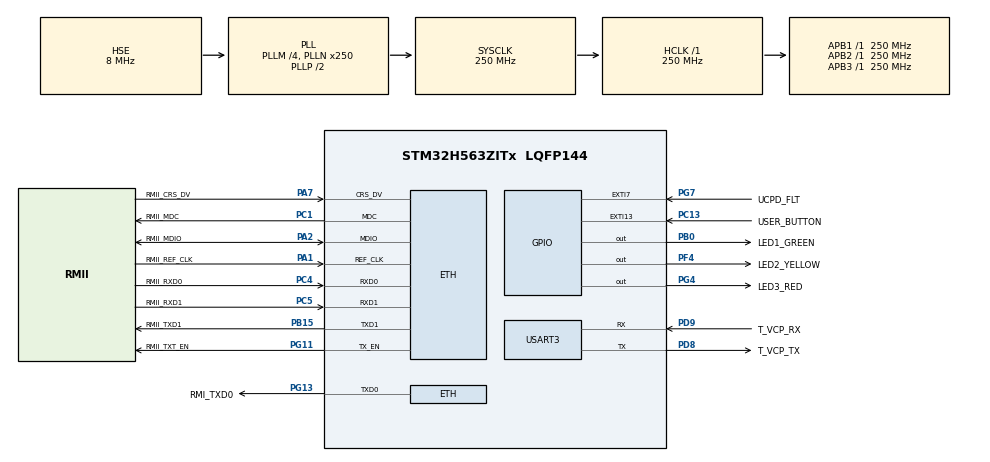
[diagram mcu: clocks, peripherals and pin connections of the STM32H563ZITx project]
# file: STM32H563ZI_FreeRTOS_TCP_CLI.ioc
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CORTEX_M33_NS.userName=CORTEX_M33
ETH.MediaInterface=HAL_ETH_RMII_MODE
Mcu.Family=STM32H5
Mcu.Name=STM32H563ZITx
Mcu.Package=LQFP144
NVIC.ETH_IRQn=true\:0\:0\:false\:false\:false\:true\:true\:true
NVIC.PriorityGroup=NVIC_PRIORITYGROUP_4
NVIC.TIM5_IRQn=true\:15\:0\:false\:false\:true\:false\:true\:true
NVIC.TimeBase=TIM5_IRQn
NVIC.TimeBaseIP=TIM5
PA1.GPIO_Label=RMII_REF_CLK
PA1.GPIO_Mode=GPIO_MODE_AF_PP
PA1.GPIO_PuPd=GPIO_NOPULL
PA1.GPIO_Speed=GPIO_SPEED_FREQ_LOW
PA1.Mode=RMII
PA1.Signal=ETH_REF_CLK
PA11.GPIO_Label=USB_FS_N
PA11.Signal=USB_DM
PA12.GPIO_Label=USB_FS_P
PA12.Signal=USB_DP
PA13(JTMS/SWDIO).GPIO_Label=SWDIO
PA13(JTMS/SWDIO).Signal=DEBUG_JTMS-SWDIO
PA14(JTCK/SWCLK).GPIO_Label=SWCLK
PA14(JTCK/SWCLK).Signal=DEBUG_JTCK-SWCLK
PA15(JTDI).GPIO_Label=T_JTDI
PA15(JTDI).Signal=DEBUG_JTDI
PA2.GPIO_Label=RMII_MDIO
PA2.GPIO_Mode=GPIO_MODE_AF_PP
PA2.GPIO_PuPd=GPIO_NOPULL
PA2.GPIO_Speed=GPIO_SPEED_FREQ_LOW
PA2.Mode=RMII
PA2.Signal=ETH_MDIO
PA4.GPIO_Label=VBUS_SENSE
PA4.Signal=ADCx_INP18
PA7.GPIO_Label=RMII_CRS_DV
PA7.GPIO_Mode=GPIO_MODE_AF_PP
PA7.GPIO_PuPd=GPIO_NOPULL
PA7.GPIO_Speed=GPIO_SPEED_FREQ_LOW
PA7.Mode=RMII
PA7.Signal=ETH_CRS_DV
PA9.GPIO_Label=UCDP_DBn
PA9.Signal=UCPD1_DB1
PB0.GPIO_Label=LED1_GREEN
PB0.Signal=GPIO_Output
PB13.GPIO_Label=UCPD_CC1
PB13.Signal=UCPD1_CC1
PB14.GPIO_Label=UCPD_CC2
PB14.Signal=UCPD1_CC2
PB15.GPIO_Label=RMII_TXD1
PB15.GPIO_Mode=GPIO_MODE_AF_PP
PB15.GPIO_PuPd=GPIO_NOPULL
PB15.GPIO_Speed=GPIO_SPEED_FREQ_LOW
PB15.Mode=RMII
PB15.Signal=ETH_TXD1
PB3(JTDO/TRACESWO).GPIO_Label=SWO
PB3(JTDO/TRACESWO).Signal=DEBUG_JTDO-SWO
PB6.GPIO_Label=ARD_D1_TX
PB6.Signal=LPUART1_TX
PB7.GPIO_Label=ARD_D0_RX
PB7.Signal=LPUART1_RX
PC1.GPIO_Label=RMII_MDC
PC1.GPIO_Mode=GPIO_MODE_AF_PP
PC1.GPIO_PuPd=GPIO_NOPULL
PC1.GPIO_Speed=GPIO_SPEED_FREQ_LOW
PC1.Mode=RMII
PC1.Signal=ETH_MDC
PC13.GPIO_Label=USER_BUTTON
PC13.Signal=GPXTI13
PC14-OSC32_IN(OSC32_IN).Mode=LSE-External-Oscillator
PC14-OSC32_IN(OSC32_IN).Signal=RCC_OSC32_IN
PC15-OSC32_OUT(OSC32_OUT).Mode=LSE-External-Oscillator
PC15-OSC32_OUT(OSC32_OUT).Signal=RCC_OSC32_OUT
PC4.GPIO_Label=RMII_RXD0
PC4.GPIO_Mode=GPIO_MODE_AF_PP
PC4.GPIO_PuPd=GPIO_NOPULL
PC4.GPIO_Speed=GPIO_SPEED_FREQ_LOW
PC4.Mode=RMII
PC4.Signal=ETH_RXD0
PC5.GPIO_Label=RMII_RXD1
PC5.GPIO_Mode=GPIO_MODE_AF_PP
PC5.GPIO_PuPd=GPIO_NOPULL
PC5.GPIO_Speed=GPIO_SPEED_FREQ_LOW
PC5.Mode=RMII
PC5.Signal=ETH_RXD1
PD8.GPIO_Label=T_VCP_TX
PD8.Mode=Asynchronous
PD8.Signal=USART3_TX
PD9.GPIO_Label=T_VCP_RX
PD9.Mode=Asynchronous
PD9.Signal=USART3_RX
PE2.GPIO_Label=TRACE_CK
PE2.Signal=DEBUG_TRACECLK
PE3.GPIO_Label=TRACE_D0
PE3.Signal=DEBUG_TRACED0
PE4.GPIO_Label=TRACE_D1
PE4.Signal=DEBUG_TRACED1
PE5.GPIO_Label=TRACE_D2
PE5.Signal=DEBUG_TRACED2
PE6.GPIO_Label=TRACE_D3
PE6.Signal=DEBUG_TRACED3
PF4.GPIO_Label=LED2_YELLOW
PF4.Signal=GPIO_Output
PG11.GPIO_Label=RMII_TXT_EN
PG11.GPIO_Mode=GPIO_MODE_AF_PP
PG11.GPIO_PuPd=GPIO_NOPULL
PG11.GPIO_Speed=GPIO_SPEED_FREQ_LOW
PG11.Mode=RMII
PG11.Signal=ETH_TX_EN
PG13.GPIO_Label=RMI_TXD0
PG13.GPIO_Mode=GPIO_MODE_AF_PP
PG13.GPIO_PuPd=GPIO_NOPULL
PG13.GPIO_Speed=GPIO_SPEED_FREQ_LOW
PG13.Mode=RMII
PG13.Signal=ETH_TXD0
PG4.GPIO_Label=LED3_RED
PG4.Signal=GPIO_Output
PG7.GPIO_Label=UCPD_FLT
PG7.Signal=GPXTI7
PH0-OSC_IN(PH0).GPIO_Label=STLK_MCO
PH0-OSC_IN(PH0).Mode=HSE-DIG-External-Clock-Source
PH0-OSC_IN(PH0).Signal=RCC_OSC_IN
ProjectManager.HeapSize=0x200
ProjectManager.StackSize=0x400
ProjectManager.TargetToolchain=STM32CubeIDE
RCC.ADCFreq_Value=250000000
RCC.AHBFreq_Value=250000000
RCC.APB1Freq_Value=250000000
RCC.APB1TimFreq_Value=250000000
RCC.APB2Freq_Value=250000000
RCC.APB2TimFreq_Value=250000000
RCC.APB3Freq_Value=250000000
RCC.CSI_VALUE=4000000
RCC.CortexFreq_Value=250000000
RCC.EPOD_VALUE=8000000
RCC.HCLKFreq_Value=250000000
RCC.HSE_VALUE=8000000
RCC.HSI48_VALUE=48000000
RCC.HSIDiv=RCC_HSI_DIV1
RCC.HSI_VALUE=64000000
RCC.LSIRC_VALUE=32000
RCC.PLLM=4
RCC.PLLN=250
RCC.PLLSourceVirtual=RCC_PLL1_SOURCE_HSE
RCC.SYSCLKFreq_VALUE=250000000
RCC.SYSCLKSource=RCC_SYSCLKSOURCE_PLLCLK
RCC.USBFreq_Value=48000000
RCC.VCOOutputFreq_Value=500000000
SH.ADCx_INP18.0=ADC1_INP18
USART3.VirtualMode=VM_ASYNC
VP_BOOTPATH_VS_BOOTPATH.Mode=BP_Activate
VP_ICACHE_VS_ICACHE.Mode=DefaultMode
VP_MEMORYMAP_VS_MEMORYMAP.Mode=CurAppReg
VP_PWR_VS_DBSignals.Mode=DisableDeadBatterySignals
VP_PWR_VS_LPOM.Mode=PowerOptimisation
VP_PWR_VS_SECSignals.Mode=Security/Privilege
VP_RNG_VS_RNG.Mode=RNG_Activate
VP_SYS_VS_tim5.Mode=TIM5
board=NUCLEO-H563ZI

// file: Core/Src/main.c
/* USER CODE BEGIN Header */
/**
  ******************************************************************************
  * @file           : main.c
  * @brief          : Main program body
  ******************************************************************************
  * @attention
  *
  * Copyright (c) 2024 STMicroelectronics.
  * All rights reserved.
  *
  * This software is licensed under terms that can be found in the LICENSE file
  * in the root directory of this software component.
  * If no LICENSE file comes with this software, it is provided AS-IS.
  *
  ******************************************************************************
  */
/* USER CODE END Header */
#include "main.h"
#include "string.h"

/* USER CODE BEGIN Includes */
#include <string.h>

#include "FreeRTOS.h"
#include "task.h"

/* USER CODE END Includes */

/* USER CODE BEGIN PTD */

#define TEST_CANDIDATE_0 0
#define TEST_CANDIDATE_1 0
#define TEST_CANDIDATE_2 1

/* USER CODE END PTD */

ETH_TxPacketConfig TxConfig;
ETH_DMADescTypeDef  DMARxDscrTab[ETH_RX_DESC_CNT]; /* Ethernet Rx DMA Descriptors */
ETH_DMADescTypeDef  DMATxDscrTab[ETH_TX_DESC_CNT]; /* Ethernet Tx DMA Descriptors */

ETH_HandleTypeDef heth;

RNG_HandleTypeDef hrng;

UART_HandleTypeDef huart3;

void SystemClock_Config(void);
static void MX_GPIO_Init(void);
static void MX_MEMORYMAP_Init(void);
static void MX_ICACHE_Init(void);
static void MX_USART3_UART_Init(void);
static void MX_ETH_Init(void);
static void MX_RNG_Init(void);

/* USER CODE BEGIN 0 */

#if TEST_CANDIDATE_1

static void task_1_thread_fn(void *io_params) {
	while(1) {
		HAL_GPIO_TogglePin(GPIOG, GPIO_PIN_4);
		vTaskDelay(100);
	}
}

static void task_2_thread_fn(void *io_params) {
	while(1) {
		HAL_GPIO_TogglePin(GPIOF, GPIO_PIN_4);
		vTaskDelay(200);
	}
}

static void task_3_thread_fn(void *io_params) {
	while(1) {
		HAL_GPIO_TogglePin(GPIOB, GPIO_PIN_0);
		vTaskDelay(400);
	}
}

static void task_4_thread_fn(void *io_params) {
  while (1)
  {
    #define TEST_CANDIDATE_1_STR "Kernel Task 4 test!!!\n\r"
    HAL_UART_Transmit( &( huart3 ), ( const uint8_t * )TEST_CANDIDATE_1_STR, strlen( TEST_CANDIDATE_1_STR ), 1000 );
    vTaskDelay( pdMS_TO_TICKS( 2000 ) );
  }
}

#endif /* TEST_CANDIDATE_1 */

/* USER CODE END 0 */

int main(void)
{

  /* MCU Configuration--------------------------------------------------------*/

  /* Reset of all peripherals, Initializes the Flash interface and the Systick. */
  HAL_Init();

  /* Configure the system clock */
  SystemClock_Config();

  /* Initialize all configured peripherals */
  MX_GPIO_Init();
  MX_MEMORYMAP_Init();
  MX_ICACHE_Init();
  MX_USART3_UART_Init();
  MX_ETH_Init();
  MX_RNG_Init();
  /* USER CODE BEGIN 2 */

#if TEST_CANDIDATE_0
  while (1)
  {
	  #define TEST_CANDIDATE_0_STR "Bare metal test!!!\n\r"
	  HAL_UART_Transmit( &( huart3 ), ( const uint8_t * )TEST_CANDIDATE_0_STR, strlen( TEST_CANDIDATE_0_STR ), 1000 );
	  HAL_Delay( 2000 );
  }

#elif TEST_CANDIDATE_1

  TaskHandle_t task_1_handle, task_2_handle, task_3_handle, task_4_handle;
  BaseType_t ret_status;

  ret_status = xTaskCreate(task_1_thread_fn, "Task_1", 200, "HW from 1", 2, &task_1_handle);
  configASSERT(ret_status == pdPASS);

  ret_status = xTaskCreate(task_2_thread_fn, "Task_2", 200, "HW from 2", 2, &task_2_handle);
  configASSERT(ret_status == pdPASS);

  ret_status = xTaskCreate(task_3_thread_fn, "Task_3", 200, "HW from 3", 2, &task_3_handle);
  configASSERT(ret_status == pdPASS);

  ret_status = xTaskCreate(task_4_thread_fn, "Task_4", 512, "HW from 4", 2, &task_4_handle);
  configASSERT(ret_status == pdPASS);

  vTaskStartScheduler();

#elif TEST_CANDIDATE_2

  extern void app_main( void );
  app_main();

#endif /* TEST_CANDIDATE_2 */

  /* USER CODE END 2 */

  /* Infinite loop */
  while (1)
  {

  }
}

void SystemClock_Config(void)
{
  RCC_OscInitTypeDef RCC_OscInitStruct = {0};
  RCC_ClkInitTypeDef RCC_ClkInitStruct = {0};

  /** Configure the main internal regulator output voltage
  */
  __HAL_PWR_VOLTAGESCALING_CONFIG(PWR_REGULATOR_VOLTAGE_SCALE0);

  while(!__HAL_PWR_GET_FLAG(PWR_FLAG_VOSRDY)) {}

  /** Initializes the RCC Oscillators according to the specified parameters
  * in the RCC_OscInitTypeDef structure.
  */
  RCC_OscInitStruct.OscillatorType = RCC_OSCILLATORTYPE_HSI48|RCC_OSCILLATORTYPE_HSE;
  RCC_OscInitStruct.HSEState = RCC_HSE_BYPASS_DIGITAL;
  RCC_OscInitStruct.HSI48State = RCC_HSI48_ON;
  RCC_OscInitStruct.PLL.PLLState = RCC_PLL_ON;
  RCC_OscInitStruct.PLL.PLLSource = RCC_PLL1_SOURCE_HSE;
  RCC_OscInitStruct.PLL.PLLM = 4;
  RCC_OscInitStruct.PLL.PLLN = 250;
  RCC_OscInitStruct.PLL.PLLP = 2;
  RCC_OscInitStruct.PLL.PLLQ = 2;
  RCC_OscInitStruct.PLL.PLLR = 2;
  RCC_OscInitStruct.PLL.PLLRGE = RCC_PLL1_VCIRANGE_1;
  RCC_OscInitStruct.PLL.PLLVCOSEL = RCC_PLL1_VCORANGE_WIDE;
  RCC_OscInitStruct.PLL.PLLFRACN = 0;
  if (HAL_RCC_OscConfig(&RCC_OscInitStruct) != HAL_OK)
  {
    Error_Handler();
  }

  /** Initializes the CPU, AHB and APB buses clocks
  */
  RCC_ClkInitStruct.ClockType = RCC_CLOCKTYPE_HCLK|RCC_CLOCKTYPE_SYSCLK
                              |RCC_CLOCKTYPE_PCLK1|RCC_CLOCKTYPE_PCLK2
                              |RCC_CLOCKTYPE_PCLK3;
  RCC_ClkInitStruct.SYSCLKSource = RCC_SYSCLKSOURCE_PLLCLK;
  RCC_ClkInitStruct.AHBCLKDivider = RCC_SYSCLK_DIV1;
  RCC_ClkInitStruct.APB1CLKDivider = RCC_HCLK_DIV1;
  RCC_ClkInitStruct.APB2CLKDivider = RCC_HCLK_DIV1;
  RCC_ClkInitStruct.APB3CLKDivider = RCC_HCLK_DIV1;

  if (HAL_RCC_ClockConfig(&RCC_ClkInitStruct, FLASH_LATENCY_5) != HAL_OK)
  {
    Error_Handler();
  }
}

static void MX_ETH_Init(void)
{

   static uint8_t MACAddr[6];

  heth.Instance = ETH;
  MACAddr[0] = 0x00;
  MACAddr[1] = 0x80;
  MACAddr[2] = 0xE1;
  MACAddr[3] = 0x00;
  MACAddr[4] = 0x00;
  MACAddr[5] = 0x00;
  heth.Init.MACAddr = &MACAddr[0];
  heth.Init.MediaInterface = HAL_ETH_RMII_MODE;
  heth.Init.TxDesc = DMATxDscrTab;
  heth.Init.RxDesc = DMARxDscrTab;
  heth.Init.RxBuffLen = 1524;

  if (HAL_ETH_Init(&heth) != HAL_OK)
  {
    Error_Handler();
  }

  memset(&TxConfig, 0 , sizeof(ETH_TxPacketConfig));
  TxConfig.Attributes = ETH_TX_PACKETS_FEATURES_CSUM | ETH_TX_PACKETS_FEATURES_CRCPAD;
  TxConfig.ChecksumCtrl = ETH_CHECKSUM_IPHDR_PAYLOAD_INSERT_PHDR_CALC;
  TxConfig.CRCPadCtrl = ETH_CRC_PAD_INSERT;

}

static void MX_ICACHE_Init(void)
{

  /** Enable instruction cache (default 2-ways set associative cache)
  */
  if (HAL_ICACHE_Enable() != HAL_OK)
  {
    Error_Handler();
  }

}

static void MX_MEMORYMAP_Init(void)
{

}

static void MX_RNG_Init(void)
{

  hrng.Instance = RNG;
  hrng.Init.ClockErrorDetection = RNG_CED_ENABLE;
  if (HAL_RNG_Init(&hrng) != HAL_OK)
  {
    Error_Handler();
  }

}

static void MX_USART3_UART_Init(void)
{

  huart3.Instance = USART3;
  huart3.Init.BaudRate = 115200;
  huart3.Init.WordLength = UART_WORDLENGTH_8B;
  huart3.Init.StopBits = UART_STOPBITS_1;
  huart3.Init.Parity = UART_PARITY_NONE;
  huart3.Init.Mode = UART_MODE_TX_RX;
  huart3.Init.HwFlowCtl = UART_HWCONTROL_NONE;
  huart3.Init.OverSampling = UART_OVERSAMPLING_16;
  huart3.Init.OneBitSampling = UART_ONE_BIT_SAMPLE_DISABLE;
  huart3.Init.ClockPrescaler = UART_PRESCALER_DIV1;
  huart3.AdvancedInit.AdvFeatureInit = UART_ADVFEATURE_NO_INIT;
  if (HAL_UART_Init(&huart3) != HAL_OK)
  {
    Error_Handler();
  }
  if (HAL_UARTEx_SetTxFifoThreshold(&huart3, UART_TXFIFO_THRESHOLD_1_8) != HAL_OK)
  {
    Error_Handler();
  }
  if (HAL_UARTEx_SetRxFifoThreshold(&huart3, UART_RXFIFO_THRESHOLD_1_8) != HAL_OK)
  {
    Error_Handler();
  }
  if (HAL_UARTEx_DisableFifoMode(&huart3) != HAL_OK)
  {
    Error_Handler();
  }

}

static void MX_GPIO_Init(void)
{
  GPIO_InitTypeDef GPIO_InitStruct = {0};

  /* GPIO Ports Clock Enable */
  __HAL_RCC_GPIOE_CLK_ENABLE();
  __HAL_RCC_GPIOC_CLK_ENABLE();
  __HAL_RCC_GPIOF_CLK_ENABLE();
  __HAL_RCC_GPIOH_CLK_ENABLE();
  __HAL_RCC_GPIOA_CLK_ENABLE();
  __HAL_RCC_GPIOB_CLK_ENABLE();
  __HAL_RCC_GPIOD_CLK_ENABLE();
  __HAL_RCC_GPIOG_CLK_ENABLE();

  /*Configure GPIO pin Output Level */
  HAL_GPIO_WritePin(LED2_YELLOW_GPIO_Port, LED2_YELLOW_Pin, GPIO_PIN_RESET);

  /*Configure GPIO pin Output Level */
  HAL_GPIO_WritePin(LED1_GREEN_GPIO_Port, LED1_GREEN_Pin, GPIO_PIN_RESET);

  /*Configure GPIO pin Output Level */
  HAL_GPIO_WritePin(LED3_RED_GPIO_Port, LED3_RED_Pin, GPIO_PIN_RESET);

  /*Configure GPIO pin : USER_BUTTON_Pin */
  GPIO_InitStruct.Pin = USER_BUTTON_Pin;
  GPIO_InitStruct.Mode = GPIO_MODE_IT_RISING;
  GPIO_InitStruct.Pull = GPIO_NOPULL;
  HAL_GPIO_Init(USER_BUTTON_GPIO_Port, &GPIO_InitStruct);

  /*Configure GPIO pin : LED2_YELLOW_Pin */
  GPIO_InitStruct.Pin = LED2_YELLOW_Pin;
  GPIO_InitStruct.Mode = GPIO_MODE_OUTPUT_PP;
  GPIO_InitStruct.Pull = GPIO_NOPULL;
  GPIO_InitStruct.Speed = GPIO_SPEED_FREQ_LOW;
  HAL_GPIO_Init(LED2_YELLOW_GPIO_Port, &GPIO_InitStruct);

  /*Configure GPIO pin : VBUS_SENSE_Pin */
  GPIO_InitStruct.Pin = VBUS_SENSE_Pin;
  GPIO_InitStruct.Mode = GPIO_MODE_ANALOG;
  GPIO_InitStruct.Pull = GPIO_NOPULL;
  HAL_GPIO_Init(VBUS_SENSE_GPIO_Port, &GPIO_InitStruct);

  /*Configure GPIO pin : LED1_GREEN_Pin */
  GPIO_InitStruct.Pin = LED1_GREEN_Pin;
  GPIO_InitStruct.Mode = GPIO_MODE_OUTPUT_PP;
  GPIO_InitStruct.Pull = GPIO_NOPULL;
  GPIO_InitStruct.Speed = GPIO_SPEED_FREQ_LOW;
  HAL_GPIO_Init(LED1_GREEN_GPIO_Port, &GPIO_InitStruct);

  /*Configure GPIO pins : UCPD_CC1_Pin UCPD_CC2_Pin */
  GPIO_InitStruct.Pin = UCPD_CC1_Pin|UCPD_CC2_Pin;
  GPIO_InitStruct.Mode = GPIO_MODE_ANALOG;
  GPIO_InitStruct.Pull = GPIO_NOPULL;
  HAL_GPIO_Init(GPIOB, &GPIO_InitStruct);

  /*Configure GPIO pin : LED3_RED_Pin */
  GPIO_InitStruct.Pin = LED3_RED_Pin;
  GPIO_InitStruct.Mode = GPIO_MODE_OUTPUT_PP;
  GPIO_InitStruct.Pull = GPIO_NOPULL;
  GPIO_InitStruct.Speed = GPIO_SPEED_FREQ_LOW;
  HAL_GPIO_Init(LED3_RED_GPIO_Port, &GPIO_InitStruct);

  /*Configure GPIO pin : UCPD_FLT_Pin */
  GPIO_InitStruct.Pin = UCPD_FLT_Pin;
  GPIO_InitStruct.Mode = GPIO_MODE_IT_RISING;
  GPIO_InitStruct.Pull = GPIO_NOPULL;
  HAL_GPIO_Init(UCPD_FLT_GPIO_Port, &GPIO_InitStruct);

  /*Configure GPIO pins : USB_FS_N_Pin USB_FS_P_Pin */
  GPIO_InitStruct.Pin = USB_FS_N_Pin|USB_FS_P_Pin;
  GPIO_InitStruct.Mode = GPIO_MODE_AF_PP;
  GPIO_InitStruct.Pull = GPIO_NOPULL;
  GPIO_InitStruct.Speed = GPIO_SPEED_FREQ_LOW;
  GPIO_InitStruct.Alternate = GPIO_AF10_USB;
  HAL_GPIO_Init(GPIOA, &GPIO_InitStruct);

  /*Configure GPIO pins : ARD_D1_TX_Pin ARD_D0_RX_Pin */
  GPIO_InitStruct.Pin = ARD_D1_TX_Pin|ARD_D0_RX_Pin;
  GPIO_InitStruct.Mode = GPIO_MODE_AF_PP;
  GPIO_InitStruct.Pull = GPIO_NOPULL;
  GPIO_InitStruct.Speed = GPIO_SPEED_FREQ_LOW;
  GPIO_InitStruct.Alternate = GPIO_AF8_LPUART1;
  HAL_GPIO_Init(GPIOB, &GPIO_InitStruct);

}

/* USER CODE BEGIN 4 */

#if 1

void vApplicationMallocFailedHook( void )
{
    /* If configUSE_MALLOC_FAILED_HOOK is set to 1 then this function will
     * be called automatically if a call to pvPortMalloc() fails.  pvPortMalloc()
     * is called automatically when a task, queue or semaphore is created. */
    for( ;; );
}
/*-----------------------------------------------------------*/

/* configUSE_STATIC_ALLOCATION is set to 1, so the application must provide an
 * implementation of vApplicationGetIdleTaskMemory() to provide the memory that is
 * used by the Idle task. */
void vApplicationGetIdleTaskMemory( StaticTask_t **ppxIdleTaskTCBBuffer, StackType_t **ppxIdleTaskStackBuffer, uint32_t *pulIdleTaskStackSize )
{
/* If the buffers to be provided to the Idle task are declared inside this
 * function then they must be declared static - otherwise they will be allocated on
 * the stack and so not exists after this function exits. */
static StaticTask_t xIdleTaskTCB;
static StackType_t uxIdleTaskStack[ configMINIMAL_STACK_SIZE ];

    /* Pass out a pointer to the StaticTask_t structure in which the Idle task's
     * state will be stored. */
    *ppxIdleTaskTCBBuffer = &xIdleTaskTCB;

    /* Pass out the array that will be used as the Idle task's stack. */
    *ppxIdleTaskStackBuffer = uxIdleTaskStack;

    /* Pass out the size of the array pointed to by *ppxIdleTaskStackBuffer.
     * Note that, as the array is necessarily of type StackType_t,
     * configMINIMAL_STACK_SIZE is specified in words, not bytes. */
    *pulIdleTaskStackSize = configMINIMAL_STACK_SIZE;
}
/*-----------------------------------------------------------*/

/* configUSE_STATIC_ALLOCATION and configUSE_TIMERS are both set to 1, so the
 * application must provide an implementation of vApplicationGetTimerTaskMemory()
 * to provide the memory that is used by the Timer service task. */
void vApplicationGetTimerTaskMemory( StaticTask_t **ppxTimerTaskTCBBuffer, StackType_t **ppxTimerTaskStackBuffer, uint32_t *pulTimerTaskStackSize )
{
/* If the buffers to be provided to the Timer task are declared inside this
 * function then they must be declared static - otherwise they will be allocated on
 * the stack and so not exists after this function exits. */
static StaticTask_t xTimerTaskTCB;
static StackType_t uxTimerTaskStack[ configTIMER_TASK_STACK_DEPTH ];

    /* Pass out a pointer to the StaticTask_t structure in which the Timer
     * task's state will be stored. */
    *ppxTimerTaskTCBBuffer = &xTimerTaskTCB;

    /* Pass out the array that will be used as the Timer task's stack. */
    *ppxTimerTaskStackBuffer = uxTimerTaskStack;

    /* Pass out the size of the array pointed to by *ppxTimerTaskStackBuffer.
     * Note that, as the array is necessarily of type StackType_t,
     * configMINIMAL_STACK_SIZE is specified in words, not bytes. */
    *pulTimerTaskStackSize = configTIMER_TASK_STACK_DEPTH;
}

#endif

/* USER CODE END 4 */

void HAL_TIM_PeriodElapsedCallback(TIM_HandleTypeDef *htim)
{
  if (htim->Instance == TIM5) {
    HAL_IncTick();
  }
}

void Error_Handler(void)
{
  __disable_irq();
  while (1)
  {
  }
}
